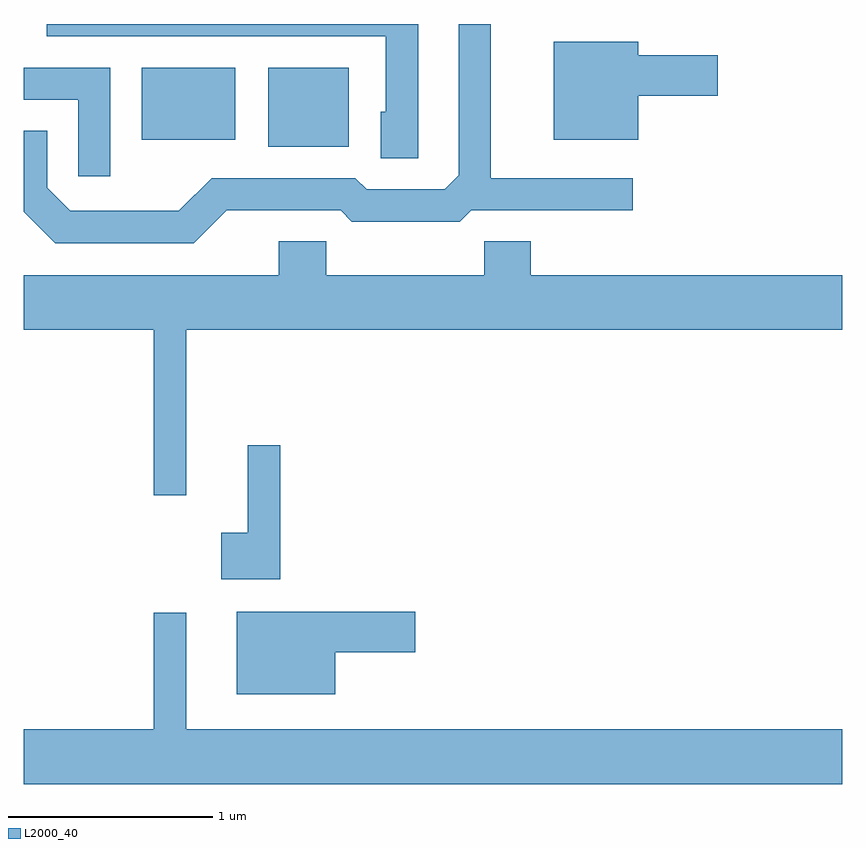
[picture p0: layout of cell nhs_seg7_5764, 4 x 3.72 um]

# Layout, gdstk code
import gdstk
lib = gdstk.Library(unit=1e-6, precision=1e-09)
def R(c, l, rs):  # rectangles x0, y0, x1, y1
    for r in rs: c.add(gdstk.rectangle(r[:2], r[2:], *l))
def P(c, l, *ps):  # polygons
    for p in ps: c.add(gdstk.Polygon(p, *l))
L2000_40 = (2000, 40)

nhs_seg7_5764 = lib.new_cell('nhs_seg7_5764')
R(nhs_seg7_5764, L2000_40, [(362.806,1719.651,363.199,1720.039), (362.186,1719.686,362.644,1720.039)])
P(nhs_seg7_5764, L2000_40, [(363.539,1720.252),(361.723,1720.252),(361.723,1720.191),(363.381,1720.191),(363.381,1719.824),(363.356,1719.824),(363.356,1719.596),(363.539,1719.596)],
  [(362.602,1719.341),(363.159,1719.341),(363.214,1719.286),(363.742,1719.286),(363.797,1719.341),(364.588,1719.341),(364.588,1719.499),(363.894,1719.499),(363.894,1720.252),(363.736,1720.252),(363.736,1719.512),(363.669,1719.444),(363.287,1719.444),(363.232,1719.499),(362.529,1719.499),(362.369,1719.339),(361.837,1719.339),(361.724,1719.452),(361.724,1719.729),(361.611,1719.729),(361.611,1719.334),(361.764,1719.181),(362.442,1719.181)],
  [(364.614,1719.901),(365.004,1719.901),(365.004,1720.099),(364.614,1720.099),(364.614,1720.164),(364.201,1720.164),(364.201,1719.686),(364.614,1719.686)],
  [(362.034,1720.039),(361.611,1720.039),(361.611,1719.881),(361.876,1719.881),(361.876,1719.508),(362.034,1719.508)],
  [(362.404,1718.756),(365.611,1718.756),(365.611,1719.024),(364.089,1719.024),(364.089,1719.189),(363.861,1719.189),(363.861,1719.024),(363.089,1719.024),(363.089,1719.189),(362.856,1719.189),(362.856,1719.024),(361.611,1719.024),(361.611,1718.756),(362.246,1718.756),(362.246,1717.948),(362.404,1717.948)],
  [(362.864,1718.193),(362.706,1718.193),(362.706,1717.764),(362.576,1717.764),(362.576,1717.536),(362.864,1717.536)],
  [(363.134,1717.181),(363.524,1717.181),(363.524,1717.379),(362.651,1717.379),(362.651,1716.976),(363.134,1716.976)],
  [(365.611,1716.804),(362.404,1716.804),(362.404,1717.373),(362.246,1717.373),(362.246,1716.804),(361.611,1716.804),(361.611,1716.536),(365.611,1716.536)])

lib.write_gds('nhs_seg7_5764.gds')
